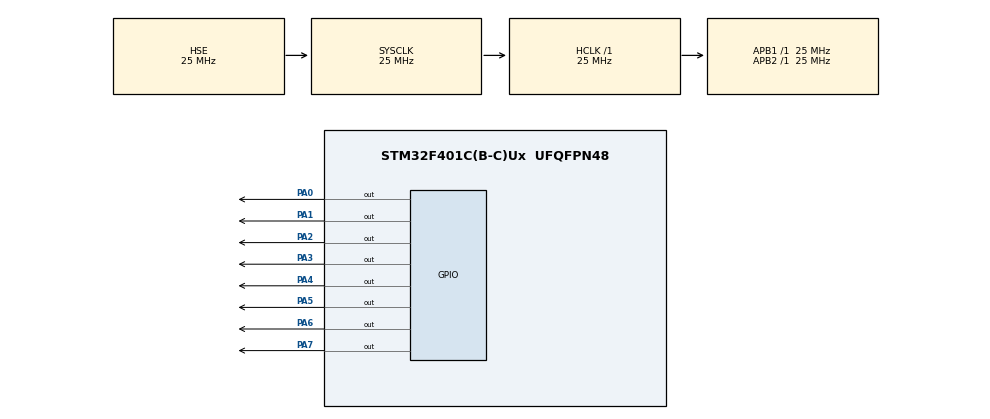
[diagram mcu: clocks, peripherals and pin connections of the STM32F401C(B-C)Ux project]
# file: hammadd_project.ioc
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FREERTOS.Tasks01=defaultTask,0,128,StartDefaultTask,Default,NULL,Dynamic,NULL,NULL;myTask02,-3,128,StartTask02,Default,NULL,Dynamic,NULL,NULL;myTask03,-3,128,StartTask03,Default,NULL,Dynamic,NULL,NULL;myTask04,-3,128,StartTask04,Default,NULL,Dynamic,NULL,NULL;myTask05,-3,128,StartTask05,Default,NULL,Dynamic,NULL,NULL;myTask06,-3,128,StartTask06,Default,NULL,Dynamic,NULL,NULL;myTask07,-3,128,StartTask07,Default,NULL,Dynamic,NULL,NULL;myTask08,-3,128,StartTask08,Default,NULL,Dynamic,NULL,NULL;myTask09,-3,128,StartTask09,Default,NULL,Dynamic,NULL,NULL;myTask10,-3,128,StartTask10,Default,NULL,Dynamic,NULL,NULL
FREERTOS.configUSE_NEWLIB_REENTRANT=1
Mcu.Family=STM32F4
Mcu.Name=STM32F401C(B-C)Ux
Mcu.Package=UFQFPN48
NVIC.PriorityGroup=NVIC_PRIORITYGROUP_4
NVIC.TIM2_IRQn=true\:15\:0\:false\:false\:true\:false\:false\:true\:true
NVIC.TimeBase=TIM2_IRQn
NVIC.TimeBaseIP=TIM2
PA0-WKUP.Signal=GPIO_Output
PA1.Signal=GPIO_Output
PA13.Mode=JTAG_4_pins
PA13.Signal=SYS_JTMS-SWDIO
PA14.Mode=JTAG_4_pins
PA14.Signal=SYS_JTCK-SWCLK
PA15.Mode=JTAG_4_pins
PA15.Signal=SYS_JTDI
PA2.Signal=GPIO_Output
PA3.Signal=GPIO_Output
PA4.Signal=GPIO_Output
PA5.Signal=GPIO_Output
PA6.Signal=GPIO_Output
PA7.Signal=GPIO_Output
PB3.Mode=JTAG_4_pins
PB3.Signal=SYS_JTDO-SWO
PH0\ -\ OSC_IN.Mode=HSE-External-Oscillator
PH0\ -\ OSC_IN.Signal=RCC_OSC_IN
PH1\ -\ OSC_OUT.Mode=HSE-External-Oscillator
PH1\ -\ OSC_OUT.Signal=RCC_OSC_OUT
ProjectManager.HeapSize=0x200
ProjectManager.StackSize=0x400
ProjectManager.TargetToolchain=STM32CubeIDE
RCC.48MHZClocksFreq_Value=75000000
RCC.AHBFreq_Value=25000000
RCC.APB1Freq_Value=25000000
RCC.APB1TimFreq_Value=25000000
RCC.APB2Freq_Value=25000000
RCC.APB2TimFreq_Value=25000000
RCC.CortexFreq_Value=25000000
RCC.HCLKFreq_Value=25000000
RCC.HSE_VALUE=25000000
RCC.HSI_VALUE=16000000
RCC.LSE_VALUE=32768
RCC.PLLSourceVirtual=RCC_PLLSOURCE_HSE
RCC.SYSCLKFreq_VALUE=25000000
RCC.SYSCLKSource=RCC_SYSCLKSOURCE_HSE
RCC.VCOOutputFreq_Value=300000000
VP_FREERTOS_VS_CMSIS_V1.Mode=CMSIS_V1
VP_SYS_VS_tim2.Mode=TIM2
board=custom

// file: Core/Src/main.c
/* USER CODE BEGIN Header */
/**
  ******************************************************************************
  * @file           : main.c
  * @brief          : Main program body
  ******************************************************************************
  * @attention
  *
  * Copyright (c) 2023 STMicroelectronics.
  * All rights reserved.
  *
  * This software is licensed under terms that can be found in the LICENSE file
  * in the root directory of this software component.
  * If no LICENSE file comes with this software, it is provided AS-IS.
  *
  ******************************************************************************
  */
/* USER CODE END Header */
#include "main.h"
#include "cmsis_os.h"
#include "gpio.h"

void SystemClock_Config(void);
void MX_FREERTOS_Init(void);

int main(void)
{

  /* MCU Configuration--------------------------------------------------------*/

  /* Reset of all peripherals, Initializes the Flash interface and the Systick. */
  HAL_Init();

  /* Configure the system clock */
  SystemClock_Config();

  /* Initialize all configured peripherals */
  MX_GPIO_Init();

  /* Call init function for freertos objects (in freertos.c) */
  MX_FREERTOS_Init();

  /* Start scheduler */
  osKernelStart();

  /* We should never get here as control is now taken by the scheduler */
  /* Infinite loop */
  while (1)
  {

  }
}

void SystemClock_Config(void)
{
  RCC_OscInitTypeDef RCC_OscInitStruct = {0};
  RCC_ClkInitTypeDef RCC_ClkInitStruct = {0};

  /** Configure the main internal regulator output voltage
  */
  __HAL_RCC_PWR_CLK_ENABLE();
  __HAL_PWR_VOLTAGESCALING_CONFIG(PWR_REGULATOR_VOLTAGE_SCALE2);

  /** Initializes the RCC Oscillators according to the specified parameters
  * in the RCC_OscInitTypeDef structure.
  */
  RCC_OscInitStruct.OscillatorType = RCC_OSCILLATORTYPE_HSE;
  RCC_OscInitStruct.HSEState = RCC_HSE_ON;
  RCC_OscInitStruct.PLL.PLLState = RCC_PLL_NONE;
  if (HAL_RCC_OscConfig(&RCC_OscInitStruct) != HAL_OK)
  {
    Error_Handler();
  }

  /** Initializes the CPU, AHB and APB buses clocks
  */
  RCC_ClkInitStruct.ClockType = RCC_CLOCKTYPE_HCLK|RCC_CLOCKTYPE_SYSCLK
                              |RCC_CLOCKTYPE_PCLK1|RCC_CLOCKTYPE_PCLK2;
  RCC_ClkInitStruct.SYSCLKSource = RCC_SYSCLKSOURCE_HSE;
  RCC_ClkInitStruct.AHBCLKDivider = RCC_SYSCLK_DIV1;
  RCC_ClkInitStruct.APB1CLKDivider = RCC_HCLK_DIV1;
  RCC_ClkInitStruct.APB2CLKDivider = RCC_HCLK_DIV1;

  if (HAL_RCC_ClockConfig(&RCC_ClkInitStruct, FLASH_LATENCY_0) != HAL_OK)
  {
    Error_Handler();
  }
}

void HAL_TIM_PeriodElapsedCallback(TIM_HandleTypeDef *htim)
{
  if (htim->Instance == TIM2) {
    HAL_IncTick();
  }
}

void Error_Handler(void)
{
  __disable_irq();
  while (1)
  {
  }
}

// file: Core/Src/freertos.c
/* USER CODE BEGIN Header */
/**
  ******************************************************************************
  * File Name          : freertos.c
  * Description        : Code for freertos applications
  ******************************************************************************
  * @attention
  *
  * Copyright (c) 2023 STMicroelectronics.
  * All rights reserved.
  *
  * This software is licensed under terms that can be found in the LICENSE file
  * in the root directory of this software component.
  * If no LICENSE file comes with this software, it is provided AS-IS.
  *
  ******************************************************************************
  */
/* USER CODE END Header */

#include "FreeRTOS.h"
#include "task.h"
#include "main.h"
#include "cmsis_os.h"
#include "gpio.h"
#include "stm32f4xx_hal_gpio.h"
#include <stdio.h>

osThreadId defaultTaskHandle;
osThreadId myTask02Handle;
osThreadId myTask03Handle;
osThreadId myTask04Handle;
osThreadId myTask05Handle;
osThreadId myTask06Handle;
osThreadId myTask07Handle;
osThreadId myTask08Handle;
osThreadId myTask09Handle;
osThreadId myTask10Handle;

void StartDefaultTask(void const * argument);
void StartTask02(void const * argument);
void StartTask03(void const * argument);
void StartTask04(void const * argument);
void StartTask05(void const * argument);
void StartTask06(void const * argument);
void StartTask07(void const * argument);
void StartTask08(void const * argument);
void StartTask09(void const * argument);
void StartTask10(void const * argument);

void MX_FREERTOS_Init(void); /* (MISRA C 2004 rule 8.1) */

/* GetIdleTaskMemory prototype (linked to static allocation support) */
void vApplicationGetIdleTaskMemory( StaticTask_t **ppxIdleTaskTCBBuffer, StackType_t **ppxIdleTaskStackBuffer, uint32_t *pulIdleTaskStackSize );

/* USER CODE BEGIN GET_IDLE_TASK_MEMORY */
static StaticTask_t xIdleTaskTCBBuffer;
static StackType_t xIdleStack[configMINIMAL_STACK_SIZE];

void vApplicationGetIdleTaskMemory( StaticTask_t **ppxIdleTaskTCBBuffer, StackType_t **ppxIdleTaskStackBuffer, uint32_t *pulIdleTaskStackSize )
{
  *ppxIdleTaskTCBBuffer = &xIdleTaskTCBBuffer;
  *ppxIdleTaskStackBuffer = &xIdleStack[0];
  *pulIdleTaskStackSize = configMINIMAL_STACK_SIZE;
  /* place for user code */
}
/* USER CODE END GET_IDLE_TASK_MEMORY */

void MX_FREERTOS_Init(void) {

  /* Create the thread(s) */
  /* definition and creation of defaultTask */
  osThreadDef(defaultTask, StartDefaultTask, osPriorityNormal, 0, 128);
  defaultTaskHandle = osThreadCreate(osThread(defaultTask), NULL);

  /* definition and creation of myTask02 */
  osThreadDef(myTask02, StartTask02, osPriorityIdle, 0, 128);
  myTask02Handle = osThreadCreate(osThread(myTask02), NULL);

  /* definition and creation of myTask03 */
  osThreadDef(myTask03, StartTask03, osPriorityIdle, 0, 128);
  myTask03Handle = osThreadCreate(osThread(myTask03), NULL);

  /* definition and creation of myTask04 */
  osThreadDef(myTask04, StartTask04, osPriorityIdle, 0, 128);
  myTask04Handle = osThreadCreate(osThread(myTask04), NULL);

  /* definition and creation of myTask05 */
  osThreadDef(myTask05, StartTask05, osPriorityIdle, 0, 128);
  myTask05Handle = osThreadCreate(osThread(myTask05), NULL);

  /* definition and creation of myTask06 */
  osThreadDef(myTask06, StartTask06, osPriorityIdle, 0, 128);
  myTask06Handle = osThreadCreate(osThread(myTask06), NULL);

  /* definition and creation of myTask07 */
  osThreadDef(myTask07, StartTask07, osPriorityIdle, 0, 128);
  myTask07Handle = osThreadCreate(osThread(myTask07), NULL);

  /* definition and creation of myTask08 */
  osThreadDef(myTask08, StartTask08, osPriorityIdle, 0, 128);
  myTask08Handle = osThreadCreate(osThread(myTask08), NULL);

  /* definition and creation of myTask09 */
  osThreadDef(myTask09, StartTask09, osPriorityIdle, 0, 128);
  myTask09Handle = osThreadCreate(osThread(myTask09), NULL);

  /* definition and creation of myTask10 */
  osThreadDef(myTask10, StartTask10, osPriorityIdle, 0, 128);
  myTask10Handle = osThreadCreate(osThread(myTask10), NULL);

}

void StartDefaultTask(void const * argument)
{
  /* USER CODE BEGIN StartDefaultTask */
  /* Infinite loop */
  for(;;)
  {    osDelay(1);

    }
  /* USER CODE END StartDefaultTask */
}

void StartTask02(void const * argument)
{  uint32_t Counter_Task = 0;

  /* USER CODE BEGIN StartTask02 */
  for(;;){
   Counter_Task++;
  printf("Task_One Counter_Task = %i \n", Counter_Task);
  HAL_GPIO_TogglePin(GPIOA,GPIO_PIN_0);
  osDelay(500);
  }
  /* USER CODE END StartTask02 */
}

void StartTask03(void const * argument)
{uint32_t Counter_Task = 0;
  /* USER CODE BEGIN StartTask03 */
  /* Infinite loop */
  for(;;)
  {
//HAL_GPIO_WritePin(GPIOA,GPIO_PIN_0, GPIO_PIN_SET);
	  Counter_Task++;
	  printf("Task_One Counter_Task = %i \n", Counter_Task);
	  HAL_GPIO_TogglePin(GPIOA,GPIO_PIN_1);
	  osDelay(1000);
  }
  /* USER CODE END StartTask03 */
}

void StartTask04(void const * argument)
{uint32_t Counter_Task = 0;
  /* USER CODE BEGIN StartTask04 */
  /* Infinite loop */
  for(;;)
  {
	  Counter_Task++;
	  printf("Task_One Counter_Task = %i \n", Counter_Task);
	  HAL_GPIO_TogglePin(GPIOA,GPIO_PIN_2);
	  osDelay(1500);
  }
  /* USER CODE END StartTask04 */
}

void StartTask05(void const * argument)
{uint32_t Counter_Task = 0;
  /* USER CODE BEGIN StartTask05 */
  /* Infinite loop */
  for(;;)
  {
	  Counter_Task++;
	  printf("Task_One Counter_Task = %i \n", Counter_Task);
	  HAL_GPIO_TogglePin(GPIOA,GPIO_PIN_3);
	  osDelay(2000);
  }
  /* USER CODE END StartTask05 */
}

void StartTask06(void const * argument)
{uint32_t Counter_Task = 0;
  /* USER CODE BEGIN StartTask06 */
  /* Infinite loop */
  for(;;)
  {
	  Counter_Task++;
	  printf("Task_One Counter_Task = %i \n", Counter_Task);
	  HAL_GPIO_TogglePin(GPIOA,GPIO_PIN_4);
	  osDelay(2500);
  }
  /* USER CODE END StartTask06 */
}

void StartTask07(void const * argument)
{uint32_t Counter_Task = 0;
  /* USER CODE BEGIN StartTask07 */
  /* Infinite loop */
  for(;;)
  {
	  Counter_Task++;
	  printf("Task_One Counter_Task = %i \n", Counter_Task);
	  HAL_GPIO_TogglePin(GPIOA,GPIO_PIN_5);
	  osDelay(3000);
  }
  /* USER CODE END StartTask07 */
}

void StartTask08(void const * argument)
{uint32_t Counter_Task = 0;
  /* USER CODE BEGIN StartTask08 */
  /* Infinite loop */
  for(;;)
  {
	  Counter_Task++;
	  printf("Task_One Counter_Task = %i \n", Counter_Task);
	  HAL_GPIO_TogglePin(GPIOA,GPIO_PIN_6);
	  osDelay(3500);
  }
  /* USER CODE END StartTask08 */
}

void StartTask09(void const * argument)
{uint32_t Counter_Task = 0;
  /* USER CODE BEGIN StartTask09 */
  /* Infinite loop */
  for(;;)
  {
	  Counter_Task++;
	  printf("Task_One Counter_Task = %i \n", Counter_Task);
	  HAL_GPIO_TogglePin(GPIOA,GPIO_PIN_7);
	  osDelay(4000);
  }
  /* USER CODE END StartTask09 */
}

void StartTask10(void const * argument)
{uint32_t Counter_Task = 0;
  /* USER CODE BEGIN StartTask10 */
  /* Infinite loop */
  for(;;)
  {
	  Counter_Task++;
	  printf("Task_One Counter_Task = %i \n", Counter_Task);
	  HAL_GPIO_TogglePin(GPIOA,GPIO_PIN_8);
	  osDelay(4500);
  }
  /* USER CODE END StartTask10 */
}
